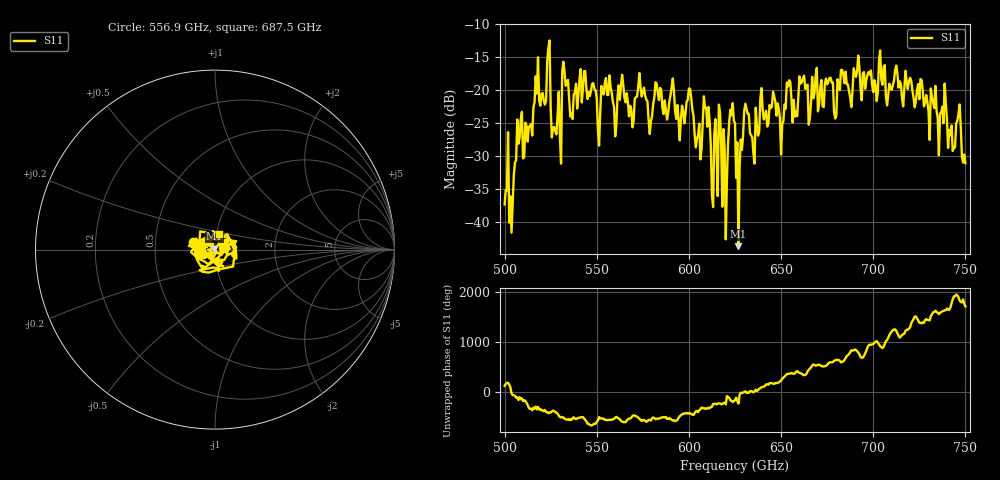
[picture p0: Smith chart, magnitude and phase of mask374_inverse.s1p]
!Created with skrf (http://scikit-rf.org).
# GHz S MA R 50.0
!freq magS11 angS11
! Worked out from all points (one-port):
!   401 points, 500 GHz to 750 GHz, reference 50 ohm
!   lowest |S11| = -43.6 dB at 626.9 GHz (marker M1), VSWR 1.01, Z = 49.6 + j0.518 ohm
!   |S11| at or under -10 dB: start of sweep to end of sweep
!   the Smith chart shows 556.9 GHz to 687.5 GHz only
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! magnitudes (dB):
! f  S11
! 500 GHz  -37.3
! 503.8 GHz  -41.6
! 508.1 GHz  -27.2
! 513.8 GHz  -25.5
! 516.9 GHz  -17.9
! 523.8 GHz  -13.6
! 526.9 GHz  -25.6
! 531.2 GHz  -17.2
! 562.5 GHz  -21.5
! 593.8 GHz  -22.3
! 600 GHz  -19.8
! 605.6 GHz  -25.1
! 609.4 GHz  -22.7
! 612.5 GHz  -35.9
! 617.5 GHz  -28.2
! 619.4 GHz  -28.7
! 622.5 GHz  -23.0
! 625 GHz  -25.0
! 626.9 GHz  -43.6
! 631.2 GHz  -22.8
! 634.4 GHz  -27.2
! 640 GHz  -22.9
! 656.2 GHz  -24.9
! 687.5 GHz  -21.1
! 718.8 GHz  -19.8
! 743.1 GHz  -29.2
! 746.2 GHz  -23.6
! 750 GHz  -31.0
